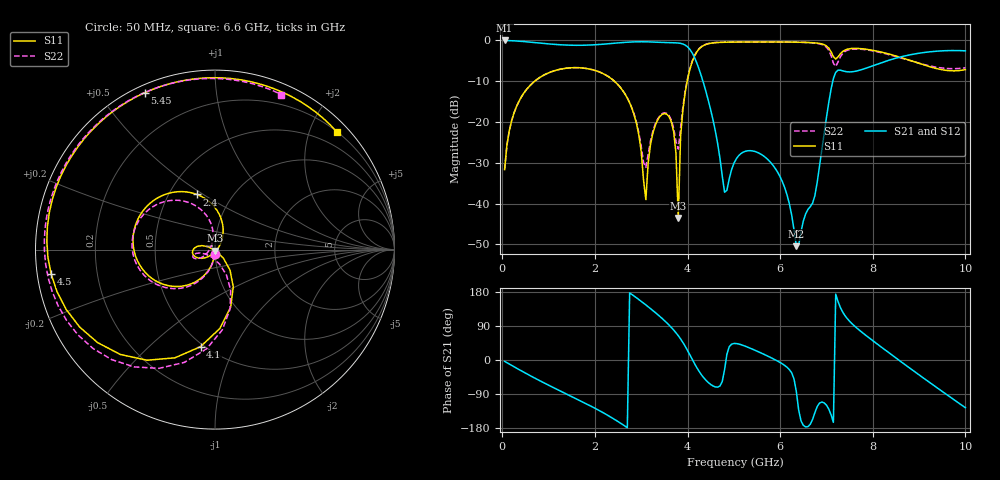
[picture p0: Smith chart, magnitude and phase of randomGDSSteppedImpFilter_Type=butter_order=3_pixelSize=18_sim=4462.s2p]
! freq	dB(S11)	phase(S11)	dB(S12)	phase(S12)
!  dB(S21)	phase(S21)	dB(S22)	phase(S22)
!S-par simulation data
#  GHz  S  DB  R 50
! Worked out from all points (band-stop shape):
!   200 points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, 50 MHz to 10 GHz, reference 50 ohm
!   highest |S21| = -0.01 dB at 50 MHz (marker M1); lowest = -50.4 dB at 6.35 GHz (marker M2)
!   |S21| within 3 dB of the highest: start of sweep to 4.097 GHz; 9.077 GHz to end of sweep
!   lowest |S11| = -43.5 dB at 3.8 GHz (marker M3), VSWR 1.01, Z = 50.1 - j0.652 ohm
!   |S11| at or under -10 dB: start of sweep to 700.2 MHz; 2.42 GHz to 3.993 GHz (1.573 GHz wide, 49.1 % of centre)
!   |S22| runs from -31.7 to -0.4 dB; largest |S21 - S12| = 0
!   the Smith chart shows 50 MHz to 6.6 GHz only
!   S11 on the Smith chart (normalised r, x): 50 MHz: 1.00, -0.05; 2.4 GHz: 0.68, +0.47; 4.1 GHz: 0.48, -0.74; 4.5 GHz: 0.04, -0.07; 5.45 GHz: 0.03, +0.65; 6.6 GHz: 0.20, +2.46
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0.05  -31.67 -93.6  -0.01 -3.6  -0.01 -3.6  -31.66 -93.4
0.5  -12.37 -126.2  -0.31 -34.6  -0.31 -34.6  -12.37 -123.9
1.75  -6.78 153.8  -1.18 -111.5  -1.18 -111.5  -6.77 162.8
2.4  -9.80 108.2  -0.71 -154.9  -0.71 -154.9  -9.78 123.3
2.85  -18.38 67.7  -0.35 168.4  -0.35 168.4  -18.20 97.0
3.1  -39.05 -81.3  -0.34 145.4  -0.34 145.4  -31.14 168.5
3.4  -18.71 -159.4  -0.47 115.2  -0.47 115.2  -18.50 -154.6
3.7  -22.34 163.1  -0.57 79.2  -0.57 79.2  -21.48 -167.1
3.8  -43.54 -78.1  -0.64 64.1  -0.64 64.1  -26.65 -109.2
3.9  -17.00 -53.8  -0.88 46.3  -0.88 46.3  -16.25 -65.7
4.1  -5.24 -98.5  -3.05 2.2  -3.05 2.2  -5.11 -94.9
4.5  -0.69 -171.5  -17.04 -64.6  -17.04 -64.6  -0.65 -160.3
4.8  -0.44 158.7  -37.22 -25.4  -37.22 -25.4  -0.41 173.0
5.05  -0.40 139.9  -29.09 43.4  -29.09 43.4  -0.37 156.3
5.45  -0.37 114.2  -27.21 26.1  -27.21 26.1  -0.36 133.4
6.35  -0.43 60.2  -50.45 -83.7  -50.45 -83.7  -0.44 83.2
6.6  -0.50 43.9  -41.44 -176.0  -41.44 -176.0  -0.54 66.8
6.7  -0.56 36.9  -39.93 -156.9  -39.93 -156.9  -0.62 59.5
7.2  -4.55 8.4  -7.82 173.7  -7.82 173.7  -6.39 33.3
7.7  -1.98 -18.5  -7.36 79.7  -7.36 79.7  -2.12 2.0
8.35  -3.33 -69.5  -4.85 19.0  -4.85 19.0  -3.49 -60.2
10  -7.16 120.3  -2.55 -126.0  -2.55 -126.0  -6.71 167.0
